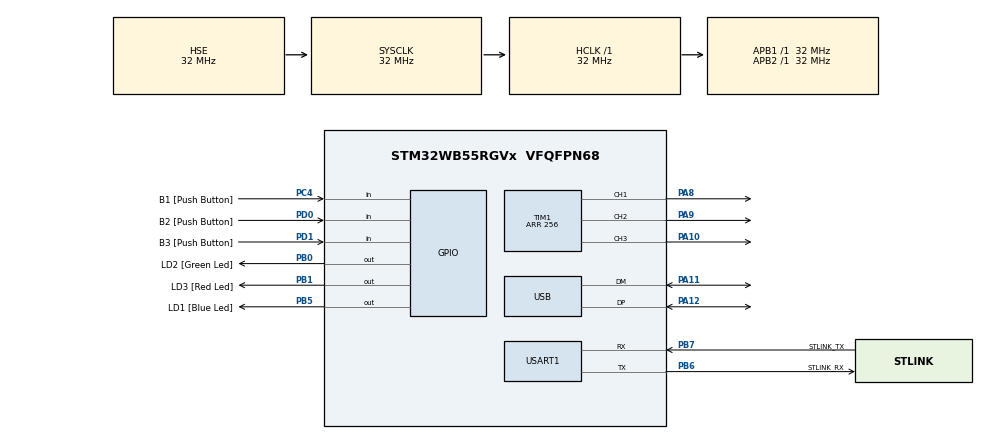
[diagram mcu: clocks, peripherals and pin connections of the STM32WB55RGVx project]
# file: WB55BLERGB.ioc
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Dma.Request0=USART1_TX
Dma.USART1_TX.0.Direction=DMA_MEMORY_TO_PERIPH
Dma.USART1_TX.0.EventEnable=DISABLE
Dma.USART1_TX.0.Instance=DMA1_Channel1
Dma.USART1_TX.0.MemDataAlignment=DMA_MDATAALIGN_BYTE
Dma.USART1_TX.0.MemInc=DMA_MINC_ENABLE
Dma.USART1_TX.0.Mode=DMA_NORMAL
Dma.USART1_TX.0.PeriphDataAlignment=DMA_PDATAALIGN_BYTE
Dma.USART1_TX.0.PeriphInc=DMA_PINC_DISABLE
Dma.USART1_TX.0.Polarity=HAL_DMAMUX_REQ_GEN_RISING
Dma.USART1_TX.0.Priority=DMA_PRIORITY_LOW
Dma.USART1_TX.0.RequestNumber=1
Dma.USART1_TX.0.SignalID=NONE
Dma.USART1_TX.0.SyncEnable=DISABLE
Dma.USART1_TX.0.SyncPolarity=HAL_DMAMUX_SYNC_NO_EVENT
Dma.USART1_TX.0.SyncRequestNumber=1
Dma.USART1_TX.0.SyncSignalID=NONE
Mcu.Family=STM32WB
Mcu.Name=STM32WB55RGVx
Mcu.Package=VFQFPN68
NVIC.DMA1_Channel1_IRQn=true\:0\:0\:false\:false\:true\:false\:true\:true
NVIC.HSEM_IRQn=true\:0\:0\:false\:false\:true\:false\:true\:true
NVIC.IPCC_C1_RX_IRQn=true\:0\:0\:false\:false\:true\:true\:true\:true
NVIC.IPCC_C1_TX_IRQn=true\:0\:0\:false\:false\:true\:true\:true\:true
NVIC.PriorityGroup=NVIC_PRIORITYGROUP_4
NVIC.USART1_IRQn=true\:0\:0\:false\:false\:true\:true\:true\:true
OSC_IN.Mode=HSE-External-Oscillator
OSC_IN.Signal=RCC_OSC_IN
OSC_OUT.Mode=HSE-External-Oscillator
OSC_OUT.Signal=RCC_OSC_OUT
PA10.Signal=S_TIM1_CH3
PA11.Mode=Device
PA11.Signal=USB_DM
PA12.Mode=Device
PA12.Signal=USB_DP
PA13.GPIO_Label=JTMS
PA13.Mode=Trace_Asynchronous_SW
PA13.Signal=SYS_JTMS-SWDIO
PA14.GPIO_Label=JTCK
PA14.Mode=Trace_Asynchronous_SW
PA14.Signal=SYS_JTCK-SWCLK
PA8.Signal=S_TIM1_CH1
PA9.Signal=S_TIM1_CH2
PB0.GPIO_Label=LD2 [Green Led]
PB0.Signal=GPIO_Output
PB1.GPIO_Label=LD3 [Red Led]
PB1.Signal=GPIO_Output
PB3.GPIO_Label=JTDO
PB3.Mode=Trace_Asynchronous_SW
PB3.Signal=SYS_JTDO-SWO
PB5.GPIO_Label=LD1 [Blue Led]
PB5.Signal=GPIO_Output
PB6.GPIO_Label=STLINK_RX
PB6.GPIO_PuPd=GPIO_PULLUP
PB6.Mode=Asynchronous
PB6.Signal=USART1_TX
PB7.GPIO_Label=STLINK_TX
PB7.GPIO_PuPd=GPIO_PULLUP
PB7.Mode=Asynchronous
PB7.Signal=USART1_RX
PC13.Mode=SYS_WakeUp1
PC13.Signal=SYS_WKUP2
PC14-OSC32_IN.Mode=LSE-External-Oscillator
PC14-OSC32_IN.Signal=RCC_OSC32_IN
PC15-OSC32_OUT.Mode=LSE-External-Oscillator
PC15-OSC32_OUT.Signal=RCC_OSC32_OUT
PC4.GPIO_Label=B1 [Push Button]
PC4.GPIO_PuPd=GPIO_PULLUP
PC4.Signal=GPIO_Input
PD0.GPIO_Label=B2 [Push Button]
PD0.GPIO_PuPd=GPIO_PULLUP
PD0.Signal=GPIO_Input
PD1.GPIO_Label=B3 [Push Button]
PD1.GPIO_PuPd=GPIO_PULLUP
PD1.Signal=GPIO_Input
ProjectManager.HeapSize=0x200
ProjectManager.StackSize=0x400
ProjectManager.TargetToolchain=STM32CubeIDE
RCC.ADCFreq_Value=48000000
RCC.AHBFreq_Value=32000000
RCC.APB1Freq_Value=32000000
RCC.APB1TimFreq_Value=32000000
RCC.APB2Freq_Value=32000000
RCC.APB2TimFreq_Value=32000000
RCC.APB3Freq_Value=16000000
RCC.CortexFreq_Value=32000000
RCC.HCLKFreq_Value=32000000
RCC.HSE_VALUE=32000000
RCC.HSI48_VALUE=48000000
RCC.HSI_VALUE=16000000
RCC.LSE_Drive_Capability=RCC_LSEDRIVE_LOW
RCC.PLLN=32
RCC.PLLSAI1N=24
RCC.SMPSCLockSelectionVirtual=RCC_SMPSCLKSOURCE_HSI
RCC.SMPSCLockSelectionVirtualVirtual=RCC_SMPSCLKSOURCE_HSI
RCC.SMPSDivider=1
RCC.SYSCLKFreq_VALUE=32000000
RCC.SYSCLKSource=RCC_SYSCLKSOURCE_HSE
RCC.USBFreq_Value=48000000
RCC.VCOOutputFreq_Value=128000000
RF1.Mode=RF1_Activate
RF1.Signal=RF_RF1
SH.S_TIM1_CH1.0=TIM1_CH1,PWM Generation1 CH1
SH.S_TIM1_CH2.0=TIM1_CH2,PWM Generation2 CH2
SH.S_TIM1_CH3.0=TIM1_CH3,PWM Generation3 CH3
STM32_WPAN.ADV_TYPE=ADV_IND
STM32_WPAN.AD_TYPE_COMPLETE_LOCAL_NAME=BLE_RGB
STM32_WPAN.AD_TYPE_COMPLETE_LOCAL_NAME_LENGTH=8
STM32_WPAN.CUSTOM_P2P_SERVER=Disabled
STM32_WPAN.CUSTOM_TEMPLATE=Enabled
STM32_WPAN.INCLUDE_AD_TYPE_COMPLETE_LOCAL_NAME=1
STM32_WPAN.NUMBER_OF_SERVICES=1
STM32_WPAN.SERVICE1_CHAR1_GATT_NOTIFY_READ_REQ_AND_WAIT_FOR_APPL_RESP=\ 
STM32_WPAN.SERVICE1_CHAR1_GATT_NOTIFY_WRITE_REQ_AND_WAIT_FOR_APPL_RESP=\ 
STM32_WPAN.SERVICE1_CHAR1_LENGTH_CHARACTERISTIC=CHAR_VALUE_LEN_VARIABLE
STM32_WPAN.SERVICE1_CHAR1_LONG_NAME=LED_RED
STM32_WPAN.SERVICE1_CHAR1_PROP_READ=CHAR_PROP_READ
STM32_WPAN.SERVICE1_CHAR1_PROP_WRITE=CHAR_PROP_WRITE
STM32_WPAN.SERVICE1_CHAR1_SHORT_NAME=LED_RED
STM32_WPAN.SERVICE1_CHAR1_UUID=FF 02
STM32_WPAN.SERVICE1_CHAR2_GATT_NOTIFY_READ_REQ_AND_WAIT_FOR_APPL_RESP=\ 
STM32_WPAN.SERVICE1_CHAR2_GATT_NOTIFY_WRITE_REQ_AND_WAIT_FOR_APPL_RESP=\ 
STM32_WPAN.SERVICE1_CHAR2_LENGTH_CHARACTERISTIC=CHAR_VALUE_LEN_VARIABLE
STM32_WPAN.SERVICE1_CHAR2_LONG_NAME=LED_BLUE
STM32_WPAN.SERVICE1_CHAR2_PROP_READ=CHAR_PROP_READ
STM32_WPAN.SERVICE1_CHAR2_PROP_WRITE=CHAR_PROP_WRITE
STM32_WPAN.SERVICE1_CHAR2_SHORT_NAME=LED_BLUE
STM32_WPAN.SERVICE1_CHAR2_UUID=FF 03
STM32_WPAN.SERVICE1_CHAR3_GATT_NOTIFY_READ_REQ_AND_WAIT_FOR_APPL_RESP=\ 
STM32_WPAN.SERVICE1_CHAR3_GATT_NOTIFY_WRITE_REQ_AND_WAIT_FOR_APPL_RESP=\ 
STM32_WPAN.SERVICE1_CHAR3_LENGTH_CHARACTERISTIC=CHAR_VALUE_LEN_VARIABLE
STM32_WPAN.SERVICE1_CHAR3_LONG_NAME=LED_GREEN
STM32_WPAN.SERVICE1_CHAR3_PROP_READ=CHAR_PROP_READ
STM32_WPAN.SERVICE1_CHAR3_PROP_WRITE=CHAR_PROP_WRITE
STM32_WPAN.SERVICE1_CHAR3_SHORT_NAME=LED_GREEN
STM32_WPAN.SERVICE1_CHAR3_UUID=FF 04
STM32_WPAN.SERVICE1_CHAR4_GATT_NOTIFY_READ_REQ_AND_WAIT_FOR_APPL_RESP=\ 
STM32_WPAN.SERVICE1_CHAR4_GATT_NOTIFY_WRITE_REQ_AND_WAIT_FOR_APPL_RESP=\ 
STM32_WPAN.SERVICE1_CHAR4_LONG_NAME=LED_POWER
STM32_WPAN.SERVICE1_CHAR4_PROP_READ=CHAR_PROP_READ
STM32_WPAN.SERVICE1_CHAR4_PROP_WRITE=CHAR_PROP_WRITE
STM32_WPAN.SERVICE1_CHAR4_SHORT_NAME=LED_POWER
STM32_WPAN.SERVICE1_CHAR4_UUID=FF 05
STM32_WPAN.SERVICE1_LONG_NAME=BLE_RGB
STM32_WPAN.SERVICE1_NUMBER_OF_CHARACTERISTICS=4
STM32_WPAN.SERVICE1_SHORT_NAME=BLE_RGB
STM32_WPAN.SERVICE1_UUID=FF 01
TIM1.Channel-PWM\ Generation1\ CH1=TIM_CHANNEL_1
TIM1.Channel-PWM\ Generation2\ CH2=TIM_CHANNEL_2
TIM1.Channel-PWM\ Generation3\ CH3=TIM_CHANNEL_3
TIM1.Period=256
USART1.VirtualMode-Asynchronous=VM_ASYNC
USART1.WordLength=WORDLENGTH_7B
VP_HSEM_VS_HSEM.Mode=HSEM_Activate
VP_IPCC_VS_IPCC.Mode=IPCC_Activate
VP_MEMORYMAP_VS_MEMORYMAP.Mode=CurAppReg
VP_RTC_VS_RTC_Activate.Mode=RTC_Enabled
VP_RTC_VS_RTC_WakeUp_intern.Mode=WakeUp
VP_SEQUENCER_VS_SEQUENCER.Mode=SEQUENCER_Enabled
VP_STM32_WPAN_VS_BLE_HOST.Mode=STM32_WPAN_Enabled
VP_TIM1_VS_ClockSourceINT.Mode=Internal
VP_TINY_LPM_VS_TINY_LPM.Mode=TINY_LPM_Enabled
board=P-NUCLEO-WB55-NUCLEO

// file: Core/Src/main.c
/* USER CODE BEGIN Header */
/**
  ******************************************************************************
  * @file           : main.c
  * @brief          : Main program body
  ******************************************************************************
  * @attention
  *
  * Copyright (c) 2023 STMicroelectronics.
  * All rights reserved.
  *
  * This software is licensed under terms that can be found in the LICENSE file
  * in the root directory of this software component.
  * If no LICENSE file comes with this software, it is provided AS-IS.
  *
  ******************************************************************************
  */
/* USER CODE END Header */
#include "main.h"

IPCC_HandleTypeDef hipcc;

RTC_HandleTypeDef hrtc;

TIM_HandleTypeDef htim1;

UART_HandleTypeDef huart1;
DMA_HandleTypeDef hdma_usart1_tx;

PCD_HandleTypeDef hpcd_USB_FS;

void SystemClock_Config(void);
void PeriphCommonClock_Config(void);
static void MX_GPIO_Init(void);
static void MX_DMA_Init(void);
static void MX_USB_PCD_Init(void);
static void MX_MEMORYMAP_Init(void);
static void MX_IPCC_Init(void);
static void MX_RTC_Init(void);
static void MX_TIM1_Init(void);
static void MX_USART1_UART_Init(void);
static void MX_RF_Init(void);

/* USER CODE BEGIN 0 */
extern uint8_t RED;
extern uint32_t BLUE;
extern uint32_t GREEN;
/* USER CODE END 0 */

int main(void)
{

  /* MCU Configuration--------------------------------------------------------*/

  /* Reset of all peripherals, Initializes the Flash interface and the Systick. */
  HAL_Init();
  /* Config code for STM32_WPAN (HSE Tuning must be done before system clock configuration) */
  MX_APPE_Config();

  /* Configure the system clock */
  SystemClock_Config();

/* Configure the peripherals common clocks */
  PeriphCommonClock_Config();

  /* IPCC initialisation */
  MX_IPCC_Init();

  /* Initialize all configured peripherals */
  MX_GPIO_Init();
  MX_DMA_Init();
  MX_USB_PCD_Init();
  MX_MEMORYMAP_Init();
  MX_RTC_Init();
  MX_TIM1_Init();
  MX_USART1_UART_Init();
  MX_RF_Init();
  /* USER CODE BEGIN 2 */
  HAL_TIM_PWM_Start(&htim1, TIM_CHANNEL_1);
  HAL_TIM_PWM_Start(&htim1, TIM_CHANNEL_2);
  HAL_TIM_PWM_Start(&htim1, TIM_CHANNEL_3);

  TIM1->CCR1= *(__IO uint32_t *)0x08070000;
  TIM1->CCR2= *(__IO uint32_t *)0x08070010;
  TIM1->CCR3= *(__IO uint32_t *)0x08070020;
  RED = *(__IO uint32_t *)0x08070000;
  BLUE = *(__IO uint32_t *)0x08070010;
  GREEN = *(__IO uint32_t *)0x08070020;

  uint32_t* test;
  static FLASH_EraseInitTypeDef Erase_struct;
  Erase_struct.TypeErase=FLASH_TYPEERASE_PAGES;
  Erase_struct.Page=100;
  Erase_struct.NbPages=26;
  HAL_FLASH_Unlock();
  HAL_FLASHEx_Erase(&Erase_struct, &test);
  HAL_FLASH_Lock();

  /* USER CODE END 2 */

  /* Init code for STM32_WPAN */
  MX_APPE_Init();

  /* Infinite loop */
  while (1)
  {
    MX_APPE_Process();

  }
}

void SystemClock_Config(void)
{
  RCC_OscInitTypeDef RCC_OscInitStruct = {0};
  RCC_ClkInitTypeDef RCC_ClkInitStruct = {0};

  /** Macro to configure the PLL multiplication factor
  */
  __HAL_RCC_PLL_PLLM_CONFIG(RCC_PLLM_DIV1);

  /** Macro to configure the PLL clock source
  */
  __HAL_RCC_PLL_PLLSOURCE_CONFIG(RCC_PLLSOURCE_MSI);

  /** Configure LSE Drive Capability
  */
  HAL_PWR_EnableBkUpAccess();
  __HAL_RCC_LSEDRIVE_CONFIG(RCC_LSEDRIVE_LOW);

  /** Configure the main internal regulator output voltage
  */
  __HAL_PWR_VOLTAGESCALING_CONFIG(PWR_REGULATOR_VOLTAGE_SCALE1);

  /** Initializes the RCC Oscillators according to the specified parameters
  * in the RCC_OscInitTypeDef structure.
  */
  RCC_OscInitStruct.OscillatorType = RCC_OSCILLATORTYPE_HSI|RCC_OSCILLATORTYPE_LSI1
                              |RCC_OSCILLATORTYPE_HSE|RCC_OSCILLATORTYPE_LSE
                              |RCC_OSCILLATORTYPE_MSI;
  RCC_OscInitStruct.HSEState = RCC_HSE_ON;
  RCC_OscInitStruct.LSEState = RCC_LSE_ON;
  RCC_OscInitStruct.HSIState = RCC_HSI_ON;
  RCC_OscInitStruct.MSIState = RCC_MSI_ON;
  RCC_OscInitStruct.HSICalibrationValue = RCC_HSICALIBRATION_DEFAULT;
  RCC_OscInitStruct.MSICalibrationValue = RCC_MSICALIBRATION_DEFAULT;
  RCC_OscInitStruct.MSIClockRange = RCC_MSIRANGE_6;
  RCC_OscInitStruct.LSIState = RCC_LSI_ON;
  RCC_OscInitStruct.PLL.PLLState = RCC_PLL_NONE;
  if (HAL_RCC_OscConfig(&RCC_OscInitStruct) != HAL_OK)
  {
    Error_Handler();
  }

  /** Configure the SYSCLKSource, HCLK, PCLK1 and PCLK2 clocks dividers
  */
  RCC_ClkInitStruct.ClockType = RCC_CLOCKTYPE_HCLK4|RCC_CLOCKTYPE_HCLK2
                              |RCC_CLOCKTYPE_HCLK|RCC_CLOCKTYPE_SYSCLK
                              |RCC_CLOCKTYPE_PCLK1|RCC_CLOCKTYPE_PCLK2;
  RCC_ClkInitStruct.SYSCLKSource = RCC_SYSCLKSOURCE_HSE;
  RCC_ClkInitStruct.AHBCLKDivider = RCC_SYSCLK_DIV1;
  RCC_ClkInitStruct.APB1CLKDivider = RCC_HCLK_DIV1;
  RCC_ClkInitStruct.APB2CLKDivider = RCC_HCLK_DIV1;
  RCC_ClkInitStruct.AHBCLK2Divider = RCC_SYSCLK_DIV1;
  RCC_ClkInitStruct.AHBCLK4Divider = RCC_SYSCLK_DIV1;

  if (HAL_RCC_ClockConfig(&RCC_ClkInitStruct, FLASH_LATENCY_1) != HAL_OK)
  {
    Error_Handler();
  }

  /** Enable MSI Auto calibration
  */
  HAL_RCCEx_EnableMSIPLLMode();
}

void PeriphCommonClock_Config(void)
{
  RCC_PeriphCLKInitTypeDef PeriphClkInitStruct = {0};

  /** Initializes the peripherals clock
  */
  PeriphClkInitStruct.PeriphClockSelection = RCC_PERIPHCLK_SMPS|RCC_PERIPHCLK_RFWAKEUP;
  PeriphClkInitStruct.RFWakeUpClockSelection = RCC_RFWKPCLKSOURCE_HSE_DIV1024;
  PeriphClkInitStruct.SmpsClockSelection = RCC_SMPSCLKSOURCE_HSI;
  PeriphClkInitStruct.SmpsDivSelection = RCC_SMPSCLKDIV_RANGE0;

  if (HAL_RCCEx_PeriphCLKConfig(&PeriphClkInitStruct) != HAL_OK)
  {
    Error_Handler();
  }
}

static void MX_IPCC_Init(void)
{

  hipcc.Instance = IPCC;
  if (HAL_IPCC_Init(&hipcc) != HAL_OK)
  {
    Error_Handler();
  }

}

static void MX_MEMORYMAP_Init(void)
{

}

static void MX_RF_Init(void)
{

}

static void MX_RTC_Init(void)
{

  /** Initialize RTC Only
  */
  hrtc.Instance = RTC;
  hrtc.Init.HourFormat = RTC_HOURFORMAT_24;
  hrtc.Init.AsynchPrediv = CFG_RTC_ASYNCH_PRESCALER;
  hrtc.Init.SynchPrediv = CFG_RTC_SYNCH_PRESCALER;
  hrtc.Init.OutPut = RTC_OUTPUT_DISABLE;
  hrtc.Init.OutPutPolarity = RTC_OUTPUT_POLARITY_HIGH;
  hrtc.Init.OutPutType = RTC_OUTPUT_TYPE_OPENDRAIN;
  hrtc.Init.OutPutRemap = RTC_OUTPUT_REMAP_NONE;
  if (HAL_RTC_Init(&hrtc) != HAL_OK)
  {
    Error_Handler();
  }

  /** Enable the WakeUp
  */
  if (HAL_RTCEx_SetWakeUpTimer(&hrtc, 0, RTC_WAKEUPCLOCK_RTCCLK_DIV16) != HAL_OK)
  {
    Error_Handler();
  }

}

static void MX_TIM1_Init(void)
{

  TIM_ClockConfigTypeDef sClockSourceConfig = {0};
  TIM_MasterConfigTypeDef sMasterConfig = {0};
  TIM_OC_InitTypeDef sConfigOC = {0};
  TIM_BreakDeadTimeConfigTypeDef sBreakDeadTimeConfig = {0};

  htim1.Instance = TIM1;
  htim1.Init.Prescaler = 0;
  htim1.Init.CounterMode = TIM_COUNTERMODE_UP;
  htim1.Init.Period = 256;
  htim1.Init.ClockDivision = TIM_CLOCKDIVISION_DIV1;
  htim1.Init.RepetitionCounter = 0;
  htim1.Init.AutoReloadPreload = TIM_AUTORELOAD_PRELOAD_DISABLE;
  if (HAL_TIM_Base_Init(&htim1) != HAL_OK)
  {
    Error_Handler();
  }
  sClockSourceConfig.ClockSource = TIM_CLOCKSOURCE_INTERNAL;
  if (HAL_TIM_ConfigClockSource(&htim1, &sClockSourceConfig) != HAL_OK)
  {
    Error_Handler();
  }
  if (HAL_TIM_PWM_Init(&htim1) != HAL_OK)
  {
    Error_Handler();
  }
  sMasterConfig.MasterOutputTrigger = TIM_TRGO_RESET;
  sMasterConfig.MasterOutputTrigger2 = TIM_TRGO2_RESET;
  sMasterConfig.MasterSlaveMode = TIM_MASTERSLAVEMODE_DISABLE;
  if (HAL_TIMEx_MasterConfigSynchronization(&htim1, &sMasterConfig) != HAL_OK)
  {
    Error_Handler();
  }
  sConfigOC.OCMode = TIM_OCMODE_PWM1;
  sConfigOC.Pulse = 0;
  sConfigOC.OCPolarity = TIM_OCPOLARITY_HIGH;
  sConfigOC.OCNPolarity = TIM_OCNPOLARITY_HIGH;
  sConfigOC.OCFastMode = TIM_OCFAST_DISABLE;
  sConfigOC.OCIdleState = TIM_OCIDLESTATE_RESET;
  sConfigOC.OCNIdleState = TIM_OCNIDLESTATE_RESET;
  if (HAL_TIM_PWM_ConfigChannel(&htim1, &sConfigOC, TIM_CHANNEL_1) != HAL_OK)
  {
    Error_Handler();
  }
  if (HAL_TIM_PWM_ConfigChannel(&htim1, &sConfigOC, TIM_CHANNEL_2) != HAL_OK)
  {
    Error_Handler();
  }
  if (HAL_TIM_PWM_ConfigChannel(&htim1, &sConfigOC, TIM_CHANNEL_3) != HAL_OK)
  {
    Error_Handler();
  }
  sBreakDeadTimeConfig.OffStateRunMode = TIM_OSSR_DISABLE;
  sBreakDeadTimeConfig.OffStateIDLEMode = TIM_OSSI_DISABLE;
  sBreakDeadTimeConfig.LockLevel = TIM_LOCKLEVEL_OFF;
  sBreakDeadTimeConfig.DeadTime = 0;
  sBreakDeadTimeConfig.BreakState = TIM_BREAK_DISABLE;
  sBreakDeadTimeConfig.BreakPolarity = TIM_BREAKPOLARITY_HIGH;
  sBreakDeadTimeConfig.BreakFilter = 0;
  sBreakDeadTimeConfig.BreakAFMode = TIM_BREAK_AFMODE_INPUT;
  sBreakDeadTimeConfig.Break2State = TIM_BREAK2_DISABLE;
  sBreakDeadTimeConfig.Break2Polarity = TIM_BREAK2POLARITY_HIGH;
  sBreakDeadTimeConfig.Break2Filter = 0;
  sBreakDeadTimeConfig.Break2AFMode = TIM_BREAK_AFMODE_INPUT;
  sBreakDeadTimeConfig.AutomaticOutput = TIM_AUTOMATICOUTPUT_DISABLE;
  if (HAL_TIMEx_ConfigBreakDeadTime(&htim1, &sBreakDeadTimeConfig) != HAL_OK)
  {
    Error_Handler();
  }
  HAL_TIM_MspPostInit(&htim1);

}

static void MX_USART1_UART_Init(void)
{

  huart1.Instance = USART1;
  huart1.Init.BaudRate = 115200;
  huart1.Init.WordLength = UART_WORDLENGTH_7B;
  huart1.Init.StopBits = UART_STOPBITS_1;
  huart1.Init.Parity = UART_PARITY_NONE;
  huart1.Init.Mode = UART_MODE_TX_RX;
  huart1.Init.HwFlowCtl = UART_HWCONTROL_NONE;
  huart1.Init.OverSampling = UART_OVERSAMPLING_16;
  huart1.Init.OneBitSampling = UART_ONE_BIT_SAMPLE_DISABLE;
  huart1.Init.ClockPrescaler = UART_PRESCALER_DIV1;
  huart1.AdvancedInit.AdvFeatureInit = UART_ADVFEATURE_NO_INIT;
  if (HAL_UART_Init(&huart1) != HAL_OK)
  {
    Error_Handler();
  }
  if (HAL_UARTEx_SetTxFifoThreshold(&huart1, UART_TXFIFO_THRESHOLD_1_8) != HAL_OK)
  {
    Error_Handler();
  }
  if (HAL_UARTEx_SetRxFifoThreshold(&huart1, UART_RXFIFO_THRESHOLD_1_8) != HAL_OK)
  {
    Error_Handler();
  }
  if (HAL_UARTEx_DisableFifoMode(&huart1) != HAL_OK)
  {
    Error_Handler();
  }

}

static void MX_USB_PCD_Init(void)
{

  hpcd_USB_FS.Instance = USB;
  hpcd_USB_FS.Init.dev_endpoints = 8;
  hpcd_USB_FS.Init.speed = PCD_SPEED_FULL;
  hpcd_USB_FS.Init.phy_itface = PCD_PHY_EMBEDDED;
  hpcd_USB_FS.Init.Sof_enable = DISABLE;
  hpcd_USB_FS.Init.low_power_enable = DISABLE;
  hpcd_USB_FS.Init.lpm_enable = DISABLE;
  hpcd_USB_FS.Init.battery_charging_enable = DISABLE;
  if (HAL_PCD_Init(&hpcd_USB_FS) != HAL_OK)
  {
    Error_Handler();
  }

}

static void MX_DMA_Init(void)
{

  /* DMA controller clock enable */
  __HAL_RCC_DMAMUX1_CLK_ENABLE();
  __HAL_RCC_DMA1_CLK_ENABLE();

  /* DMA interrupt init */
  /* DMA1_Channel1_IRQn interrupt configuration */
  HAL_NVIC_SetPriority(DMA1_Channel1_IRQn, 0, 0);
  HAL_NVIC_EnableIRQ(DMA1_Channel1_IRQn);

}

static void MX_GPIO_Init(void)
{
  GPIO_InitTypeDef GPIO_InitStruct = {0};

  /* GPIO Ports Clock Enable */
  __HAL_RCC_GPIOC_CLK_ENABLE();
  __HAL_RCC_GPIOA_CLK_ENABLE();
  __HAL_RCC_GPIOB_CLK_ENABLE();
  __HAL_RCC_GPIOD_CLK_ENABLE();

  /*Configure GPIO pin Output Level */
  HAL_GPIO_WritePin(GPIOB, LD2_Pin|LD3_Pin|LD1_Pin, GPIO_PIN_RESET);

  /*Configure GPIO pin : B1_Pin */
  GPIO_InitStruct.Pin = B1_Pin;
  GPIO_InitStruct.Mode = GPIO_MODE_INPUT;
  GPIO_InitStruct.Pull = GPIO_PULLUP;
  HAL_GPIO_Init(B1_GPIO_Port, &GPIO_InitStruct);

  /*Configure GPIO pins : LD2_Pin LD3_Pin LD1_Pin */
  GPIO_InitStruct.Pin = LD2_Pin|LD3_Pin|LD1_Pin;
  GPIO_InitStruct.Mode = GPIO_MODE_OUTPUT_PP;
  GPIO_InitStruct.Pull = GPIO_NOPULL;
  GPIO_InitStruct.Speed = GPIO_SPEED_FREQ_LOW;
  HAL_GPIO_Init(GPIOB, &GPIO_InitStruct);

  /*Configure GPIO pins : B2_Pin B3_Pin */
  GPIO_InitStruct.Pin = B2_Pin|B3_Pin;
  GPIO_InitStruct.Mode = GPIO_MODE_INPUT;
  GPIO_InitStruct.Pull = GPIO_PULLUP;
  HAL_GPIO_Init(GPIOD, &GPIO_InitStruct);

}

void Error_Handler(void)
{
  __disable_irq();
  while (1)
  {
  }
}
